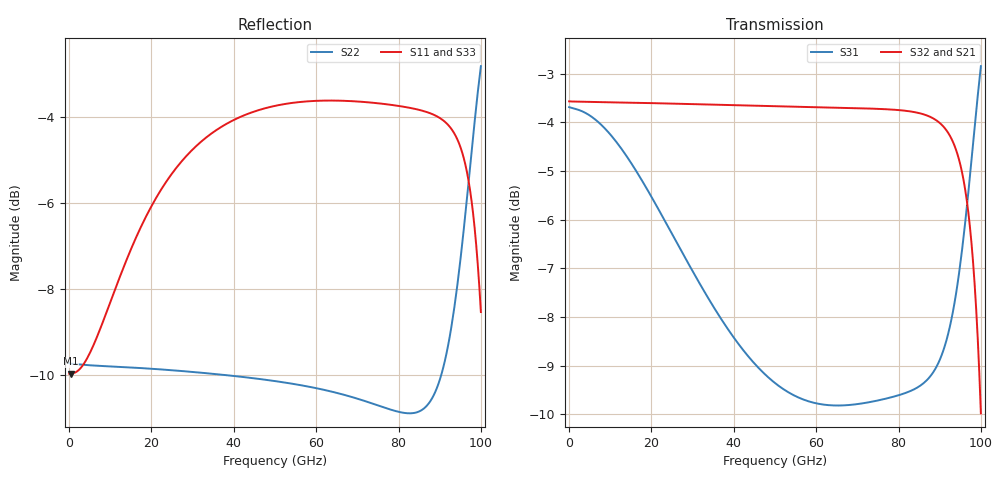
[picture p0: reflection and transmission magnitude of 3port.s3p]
# GHZ S RI R 50
!symmetric inductor with centertap
!outer diameter (D)  = 99.737um
!conductor width (w)  = 3.714um
!conductor spacing (s)  = 1.8um
!number of windings (N) = 2
!polygonal edges (p)  = 8
! freq ReS11 ImS11 ReS12 ImS12 ReS13 ImS13
! ReS21 ImS21 ReS22 ImS22 ReS23 ImS23
! ReS31 ImS31 ReS32 ImS32 ReS33 ImS33
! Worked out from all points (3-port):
!   250 points, 1 MHz to 100 GHz, reference 50 ohm
!   strongest paths, dB at 1 MHz, 24.8 GHz, 50.41 GHz, 75.61 GHz, 100 GHz:
!     S32: -3.6, -3.6, -3.7, -3.7, -10.0
!     S21: -3.6, -3.6, -3.7, -3.7, -9.7
!     S31: -3.7, -6.3, -9.4, -9.7, -2.8
!   lowest |S11| = -10.0 dB at 397.8 MHz (marker M1), VSWR 1.93, Z = 25.9 + j0.951 ohm
!   |S11| at or under -10 dB: nowhere
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0.001  -0.3173 4.56e-05  0.6632 -5.32e-06  0.654 -4.36e-05
       0.6632 -5.32e-06  -0.3263 6.92e-06  0.6631 -5.02e-06
       0.654 -4.36e-05  0.6631 -5.02e-06  -0.3171 4.53e-05
0.3978214  -0.3167 0.0165  0.6629 -0.00151  0.6531 -0.0169
           0.6629 -0.00151  -0.3258 0.00163  0.6629 -0.00146
           0.6531 -0.0169  0.6629 -0.00146  -0.3167 0.0165
10.71518  -0.1474 0.3636  0.6605 -0.0345  0.4856 -0.3659
          0.6605 -0.0345  -0.3217 0.0321  0.6605 -0.0347
          0.4856 -0.3659  0.6605 -0.0347  -0.1469 0.3635
19.9195  0.1267 0.4797  0.6571 -0.0636  0.2124 -0.4853
         0.6571 -0.0636  -0.3162 0.0575  0.6572 -0.0641
         0.2124 -0.4853  0.6572 -0.0641  0.1277 0.4789
34.5535  0.4731 0.375  0.6481 -0.1107  -0.1323 -0.3892
         0.6481 -0.1107  -0.3028 0.0944  0.6484 -0.1119
         -0.1323 -0.3892  0.6484 -0.1119  0.4742 0.3724
50.0005  0.6354 0.1377  0.6339 -0.164  -0.2951 -0.1698
         0.6339 -0.164  -0.284 0.1266  0.634 -0.1664
         -0.2951 -0.1698  0.634 -0.1664  0.6356 0.1325
67.48  0.6456 -0.1317  0.6073 -0.2377  -0.3185 0.0545
       0.6073 -0.2377  -0.2606 0.1468  0.6062 -0.2423
       -0.3185 0.0545  0.6062 -0.2423  0.6425 -0.1406
84.12714  0.527 -0.3714  0.5422 -0.3515  -0.2851 0.1779
          0.5422 -0.3515  -0.2611 0.116  0.5368 -0.3596
          -0.2851 0.1779  0.5368 -0.3596  0.5144 -0.3856
95.45459  0.2426 -0.5201  0.3093 -0.4709  -0.4169 0.2116
          0.3093 -0.4709  -0.4478 0.0288  0.2897 -0.479
          -0.4169 0.2116  0.2897 -0.479  0.2027 -0.5306
100  0.012 -0.3739  0.0711 -0.3203  -0.579 0.4291
     0.0711 -0.3203  -0.698 0.1891  0.0429 -0.314
     -0.579 0.4291  0.0429 -0.314  -0.041 -0.3547
